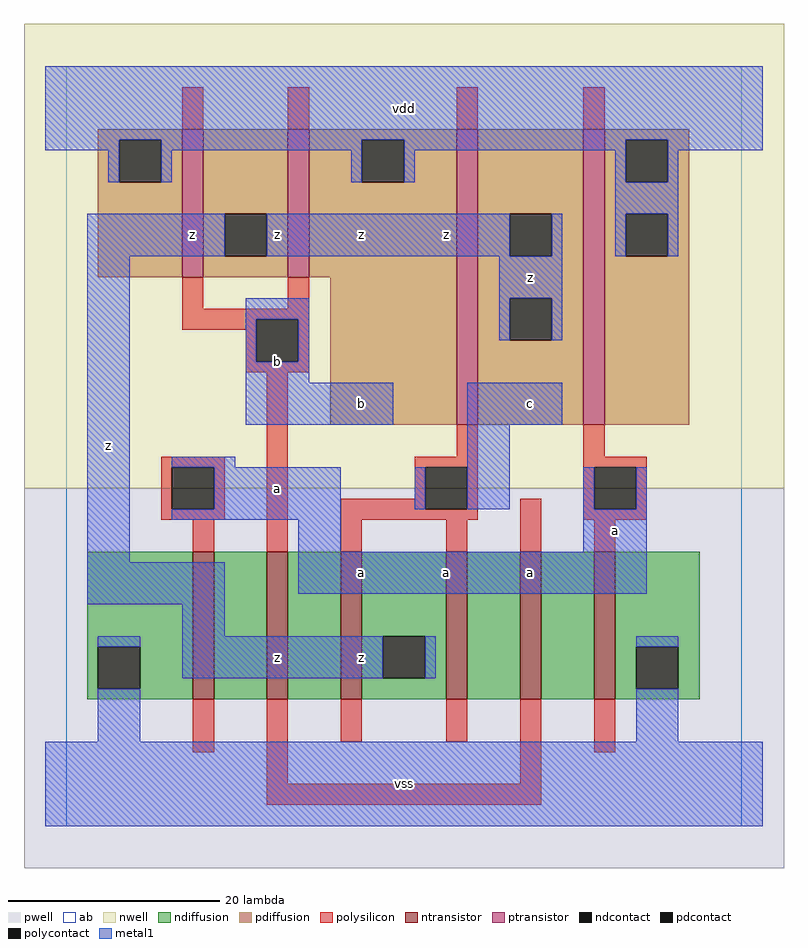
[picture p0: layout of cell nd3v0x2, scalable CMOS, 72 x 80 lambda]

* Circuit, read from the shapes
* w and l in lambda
.subckt nd3v0x2 a b c vdd vss z
M1 n1 a vss VSUBS nfet w=14 l=2
M2 n2 b n1 VSUBS nfet w=14 l=2
M3 z c n2 VSUBS nfet w=14 l=2
M4 n3 c z VSUBS nfet w=14 l=2
M5 n4 b n3 VSUBS nfet w=14 l=2
M6 vss a n4 VSUBS nfet w=14 l=2
M7 z b vdd n5 pfet w=14 l=2 m=2
M8 z c vdd n5 pfet w=28 l=2
M9 vdd a z n5 pfet w=28 l=2
.ends

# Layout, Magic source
magic
tech scmos
<< ab >>
rect 0 0 64 72
<< pwell >>
rect -4 -4 68 32
<< nwell >>
rect -4 32 68 76
<< polysilicon >>
rect 11 66 13 70
rect 21 66 23 70
rect 37 66 39 70
rect 49 66 51 70
rect 11 49 13 52
rect 21 49 23 52
rect 11 48 23 49
rect 11 47 18 48
rect 17 44 18 47
rect 22 44 23 48
rect 17 43 23 44
rect 9 34 15 35
rect 9 30 10 34
rect 14 30 15 34
rect 9 29 15 30
rect 12 26 14 29
rect 19 26 21 43
rect 37 35 39 38
rect 33 34 39 35
rect 33 31 34 34
rect 26 30 34 31
rect 38 30 39 34
rect 49 35 51 38
rect 49 34 55 35
rect 26 29 39 30
rect 26 26 28 29
rect 36 26 38 29
rect 43 26 45 31
rect 49 30 50 34
rect 54 30 55 34
rect 49 29 55 30
rect 50 26 52 29
rect 12 7 14 12
rect 19 4 21 12
rect 26 8 28 12
rect 36 8 38 12
rect 43 4 45 12
rect 50 7 52 12
rect 19 2 45 4
<< ndiffusion >>
rect 2 17 12 26
rect 2 13 3 17
rect 7 13 12 17
rect 2 12 12 13
rect 14 12 19 26
rect 21 12 26 26
rect 28 18 36 26
rect 28 14 30 18
rect 34 14 36 18
rect 28 12 36 14
rect 38 12 43 26
rect 45 12 50 26
rect 52 17 60 26
rect 52 13 54 17
rect 58 13 60 17
rect 52 12 60 13
<< pdiffusion >>
rect 3 65 11 66
rect 3 61 5 65
rect 9 61 11 65
rect 3 52 11 61
rect 13 58 21 66
rect 13 54 15 58
rect 19 54 21 58
rect 13 52 21 54
rect 23 65 37 66
rect 23 61 28 65
rect 32 61 37 65
rect 23 52 37 61
rect 25 38 37 52
rect 39 58 49 66
rect 39 54 42 58
rect 46 54 49 58
rect 39 50 49 54
rect 39 46 42 50
rect 46 46 49 50
rect 39 38 49 46
rect 51 65 59 66
rect 51 61 53 65
rect 57 61 59 65
rect 51 58 59 61
rect 51 54 53 58
rect 57 54 59 58
rect 51 38 59 54
<< metal1 >>
rect -2 65 66 72
rect -2 64 5 65
rect 4 61 5 64
rect 9 64 28 65
rect 9 61 10 64
rect 27 61 28 64
rect 32 64 53 65
rect 32 61 33 64
rect 52 61 53 64
rect 57 64 66 65
rect 57 61 58 64
rect 52 58 58 61
rect 2 54 15 58
rect 19 54 42 58
rect 46 54 47 58
rect 52 54 53 58
rect 57 54 58 58
rect 2 25 6 54
rect 41 50 47 54
rect 17 48 23 50
rect 17 44 18 48
rect 22 44 23 48
rect 41 46 42 50
rect 46 46 47 50
rect 17 42 23 44
rect 17 38 31 42
rect 38 38 47 42
rect 10 34 16 35
rect 14 30 26 34
rect 33 30 34 34
rect 38 30 42 38
rect 49 30 50 34
rect 54 30 55 34
rect 10 29 26 30
rect 22 26 26 29
rect 49 26 55 30
rect 2 21 15 25
rect 22 22 55 26
rect 11 18 15 21
rect 3 17 7 18
rect 11 14 30 18
rect 34 14 35 18
rect 54 17 58 18
rect 3 8 7 13
rect 54 8 58 13
rect -2 0 66 8
<< ntransistor >>
rect 12 12 14 26
rect 19 12 21 26
rect 26 12 28 26
rect 36 12 38 26
rect 43 12 45 26
rect 50 12 52 26
<< ptransistor >>
rect 11 52 13 66
rect 21 52 23 66
rect 37 38 39 66
rect 49 38 51 66
<< polycontact >>
rect 18 44 22 48
rect 10 30 14 34
rect 34 30 38 34
rect 50 30 54 34
<< ndcontact >>
rect 3 13 7 17
rect 30 14 34 18
rect 54 13 58 17
<< pdcontact >>
rect 5 61 9 65
rect 15 54 19 58
rect 28 61 32 65
rect 42 54 46 58
rect 42 46 46 50
rect 53 61 57 65
rect 53 54 57 58
<< labels >>
rlabel metal1 4 36 4 36 6 z
rlabel metal1 20 16 20 16 6 z
rlabel metal1 20 32 20 32 6 a
rlabel metal1 20 44 20 44 6 b
rlabel metal1 20 56 20 56 6 z
rlabel metal1 12 56 12 56 6 z
rlabel metal1 32 4 32 4 6 vss
rlabel metal1 28 16 28 16 6 z
rlabel metal1 28 24 28 24 6 a
rlabel metal1 36 24 36 24 6 a
rlabel metal1 28 40 28 40 6 b
rlabel metal1 36 56 36 56 6 z
rlabel metal1 28 56 28 56 6 z
rlabel metal1 32 68 32 68 6 vdd
rlabel metal1 44 24 44 24 6 a
rlabel metal1 44 40 44 40 6 c
rlabel metal1 44 52 44 52 6 z
rlabel metal1 52 28 52 28 6 a
<< end >>
